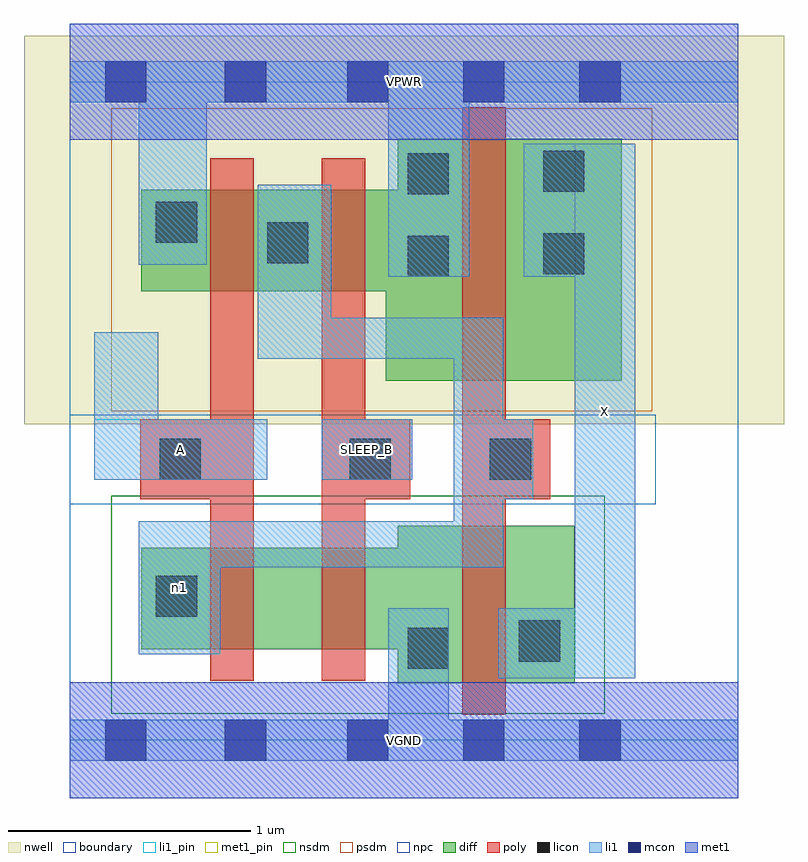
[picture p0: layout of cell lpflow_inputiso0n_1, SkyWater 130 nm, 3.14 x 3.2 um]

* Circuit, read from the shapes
.subckt lpflow_inputiso0n_1 A SLEEP_B VGND VPWR X n1
XM1 n2 A n1 VSUBS sky130_fd_pr__nfet_01v8 w=0.42 l=0.18
XM2 VGND SLEEP_B n2 VSUBS sky130_fd_pr__nfet_01v8 w=0.42 l=0.18
XM3 X n1 VGND VSUBS sky130_fd_pr__nfet_01v8 w=0.65 l=0.18
XM4 n1 A VPWR n3 sky130_fd_pr__pfet_01v8 w=0.42 l=0.18
XM5 VPWR SLEEP_B n1 n3 sky130_fd_pr__pfet_01v8 w=0.42 l=0.18
XM6 X n1 VPWR n3 sky130_fd_pr__pfet_01v8 w=1 l=0.18
.ends

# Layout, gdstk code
import gdstk
lib = gdstk.Library(unit=1e-6, precision=1e-09)
def R(c, l, rs):  # rectangles x0, y0, x1, y1
    for r in rs: c.add(gdstk.rectangle(r[:2], r[2:], *l))
def A(c, l, x, y, w, h, nx, ny, dx, dy):  # array of equal rectangles
    R(c, l, [(x+i*dx, y+j*dy, x+i*dx+w, y+j*dy+h) for i in range(nx) for j in range(ny)])
nwell = (64, 20)
diff = (65, 20)
poly = (66, 20)
licon = (66, 44)
li1_pin = (67, 16)
li1 = (67, 20)
mcon = (67, 44)
met1_pin = (68, 16)
met1 = (68, 20)
nsdm = (93, 44)
psdm = (94, 20)
npc = (95, 20)
boundary = (235, 4)

lpflow_inputiso0n_1 = lib.new_cell('lpflow_inputiso0n_1')
R(lpflow_inputiso0n_1, nwell, [(-0.19,1.305,2.95,2.91), (0,1.305,2.76,2.91)])
R(lpflow_inputiso0n_1, diff, [(1.355,0.235,2.085,0.885), (0.295,0.375,2.085,0.795), (1.305,1.485,2.28,2.275), (1.355,1.485,2.28,2.485), (0.295,1.855,2.28,2.275)])
R(lpflow_inputiso0n_1, poly, [(1.62,0.105,1.8,2.615), (0.58,0.245,0.76,2.405), (1.04,0.245,1.22,2.405), (0.29,0.995,0.76,1.325), (1.04,0.995,1.405,1.325), (1.62,0.995,1.985,1.325)])
R(lpflow_inputiso0n_1, licon, [(1.395,0.295,1.565,0.465), (1.855,0.325,2.025,0.495), (0.355,0.51,0.525,0.68), (0.37,1.075,0.54,1.245), (1.155,1.075,1.325,1.245), (1.735,1.075,1.905,1.245), (1.395,1.915,1.565,2.085), (1.955,1.925,2.125,2.095), (0.815,1.97,0.985,2.14), (0.355,2.055,0.525,2.225), (1.395,2.255,1.565,2.425), (1.955,2.265,2.125,2.435)])
R(lpflow_inputiso0n_1, li1_pin, [(2.085,0.255,2.335,2.465), (0.1,1.075,0.815,1.325), (1.04,1.075,1.415,1.325)])
R(lpflow_inputiso0n_1, li1, [(0,-0.085,2.76,0.085), (1.315,-0.085,1.565,0.545), (1.77,0.255,2.335,0.545), (2.085,0.255,2.335,2.465), (0.285,0.355,0.62,0.905), (0.285,0.715,1.79,0.905), (1.585,0.715,1.79,1.745), (1.585,0.995,1.915,1.325), (0.1,1.075,0.815,1.325), (0.1,1.075,0.365,1.685), (1.04,1.075,1.415,1.325), (0.775,1.575,1.08,2.295), (0.775,1.575,1.79,1.745), (1.315,1.915,1.65,2.805), (1.875,1.915,2.335,2.465), (0.285,1.965,0.565,2.805), (0,2.635,2.76,2.805)])
A(lpflow_inputiso0n_1, mcon, 1.145, -0.085, 0.17, 0.17, 3, 2, 0.48, 2.72)
R(lpflow_inputiso0n_1, mcon, [(0.145,-0.085,0.315,0.085), (0.64,-0.085,0.81,0.085), (0.145,2.635,0.315,2.805), (0.64,2.635,0.81,2.805)])
R(lpflow_inputiso0n_1, met1_pin, [(0,-0.24,2.76,0.24), (0,2.48,2.76,2.96)])
R(lpflow_inputiso0n_1, met1, [(0,-0.24,2.76,0.24), (0,2.48,2.76,2.96)])
R(lpflow_inputiso0n_1, nsdm, [(0.17,0.11,2.21,1.01)])
R(lpflow_inputiso0n_1, psdm, [(0.17,1.36,2.405,2.61)])
R(lpflow_inputiso0n_1, npc, [(0,0.975,2.42,1.345)])
R(lpflow_inputiso0n_1, boundary, [(0,0,2.76,2.72)])
lpflow_inputiso0n_1.add(gdstk.Label('A', (0.457,1.2), layer=67, texttype=5))
lpflow_inputiso0n_1.add(gdstk.Label('SLEEP_B', (1.227,1.2), layer=67, texttype=5))
lpflow_inputiso0n_1.add(gdstk.Label('X', (2.21,1.36), layer=67, texttype=5))
lpflow_inputiso0n_1.add(gdstk.Label('n1', (0.452,0.63), layer=67, texttype=5))
lpflow_inputiso0n_1.add(gdstk.Label('VPWR', (1.38,2.72), layer=68, texttype=5))
lpflow_inputiso0n_1.add(gdstk.Label('VGND', (1.38,0), layer=68, texttype=5))
lpflow_inputiso0n_1.add(gdstk.Label('A', (0.457,1.2), layer=67, texttype=16))
lpflow_inputiso0n_1.add(gdstk.Label('SLEEP_B', (1.227,1.2), layer=67, texttype=16))
lpflow_inputiso0n_1.add(gdstk.Label('X', (2.21,1.36), layer=67, texttype=16))
lpflow_inputiso0n_1.add(gdstk.Label('VPWR', (1.38,2.72), layer=68, texttype=16))
lpflow_inputiso0n_1.add(gdstk.Label('VGND', (1.38,0), layer=68, texttype=16))

lib.write_gds('lpflow_inputiso0n_1.gds')
